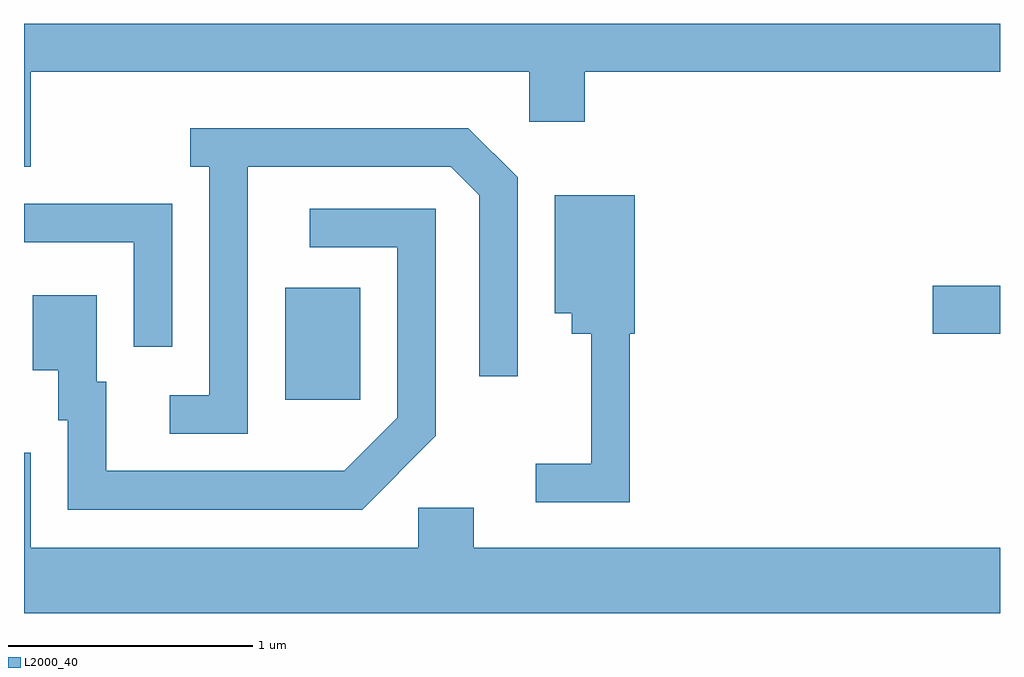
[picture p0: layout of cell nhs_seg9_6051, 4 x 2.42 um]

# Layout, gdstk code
import gdstk
lib = gdstk.Library(unit=1e-6, precision=1e-09)
def R(c, l, rs):  # rectangles x0, y0, x1, y1
    for r in rs: c.add(gdstk.rectangle(r[:2], r[2:], *l))
def P(c, l, *ps):  # polygons
    for p in ps: c.add(gdstk.Polygon(p, *l))
L2000_40 = (2000, 40)

nhs_seg9_6051 = lib.new_cell('nhs_seg9_6051')
R(nhs_seg9_6051, L2000_40, [(364.681,2014.891,364.989,2015.349), (367.336,2015.161,367.611,2015.359)])
P(nhs_seg9_6051, L2000_40, [(363.639,2016.236),(365.681,2016.236),(365.681,2016.031),(365.909,2016.031),(365.909,2016.236),(367.611,2016.236),(367.611,2016.432),(363.611,2016.432),(363.611,2015.846),(363.639,2015.846)],
  [(364.529,2015.846),(365.359,2015.846),(365.476,2015.729),(365.476,2014.988),(365.634,2014.988),(365.634,2015.802),(365.432,2016.004),(364.293,2016.004),(364.293,2015.846),(364.371,2015.846),(364.371,2014.909),(364.208,2014.909),(364.208,2014.751),(364.529,2014.751)],
  [(366.094,2015.161),(366.114,2015.161),(366.114,2015.729),(365.786,2015.729),(365.786,2015.246),(365.856,2015.246),(365.856,2015.161),(365.936,2015.161),(365.936,2014.629),(365.708,2014.629),(365.708,2014.471),(366.094,2014.471)],
  [(364.219,2015.694),(363.611,2015.694),(363.611,2015.536),(364.061,2015.536),(364.061,2015.108),(364.219,2015.108)],
  [(365.299,2014.744),(365.299,2015.674),(364.783,2015.674),(364.783,2015.516),(365.141,2015.516),(365.141,2014.817),(364.924,2014.599),(363.949,2014.599),(363.949,2014.964),(363.909,2014.964),(363.909,2015.319),(363.646,2015.319),(363.646,2015.011),(363.751,2015.011),(363.751,2014.806),(363.791,2014.806),(363.791,2014.441),(364.997,2014.441)],
  [(367.611,2014.284),(365.454,2014.284),(365.454,2014.449),(365.226,2014.449),(365.226,2014.284),(363.639,2014.284),(363.639,2014.674),(363.611,2014.674),(363.611,2014.016),(367.611,2014.016)])

lib.write_gds('nhs_seg9_6051.gds')
